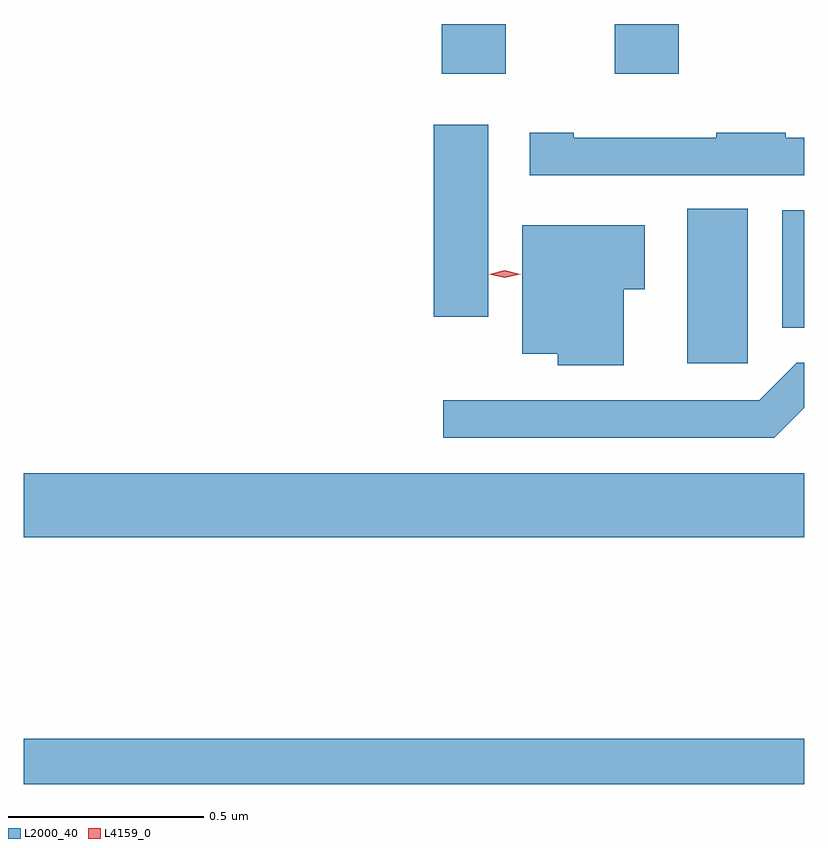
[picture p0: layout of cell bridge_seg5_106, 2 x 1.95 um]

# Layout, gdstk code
import gdstk
lib = gdstk.Library(unit=1e-6, precision=1e-09)
def R(c, l, rs):  # rectangles x0, y0, x1, y1
    for r in rs: c.add(gdstk.rectangle(r[:2], r[2:], *l))
def P(c, l, *ps):  # polygons
    for p in ps: c.add(gdstk.Polygon(p, *l))
L2000_40 = (2000, 40)
L4159_0 = (4159, 0)

bridge_seg5_106 = lib.new_cell('bridge_seg5_106')
R(bridge_seg5_106, L2000_40, [(603.41,874.776,605.41,874.892), (603.41,875.408,605.41,875.572), (605.111,875.855,605.266,876.251), (605.354,875.945,605.41,876.247), (604.46,875.973,604.6,876.466), (604.481,876.597,604.645,876.724), (604.925,876.597,605.089,876.724)])
P(bridge_seg5_106, L2000_40, [(605.41,876.433),(605.363,876.433),(605.363,876.445),(605.185,876.445),(605.185,876.433),(604.819,876.433),(604.819,876.445),(604.707,876.445),(604.707,876.336),(605.41,876.336)],
  [(604.948,876.044),(605.002,876.044),(605.002,876.208),(604.688,876.208),(604.688,875.879),(604.778,875.879),(604.778,875.849),(604.948,875.849)],
  [(605.41,875.74),(605.41,875.856),(605.391,875.856),(605.295,875.76),(604.485,875.76),(604.485,875.664),(605.334,875.664)])
P(bridge_seg5_106, L4159_0, [(604.643,876.073),(604.603,876.082),(604.603,876.083),(604.603,876.083),(604.643,876.093),(604.682,876.083),(604.683,876.083),(604.682,876.082)])

lib.write_gds('bridge_seg5_106.gds')
